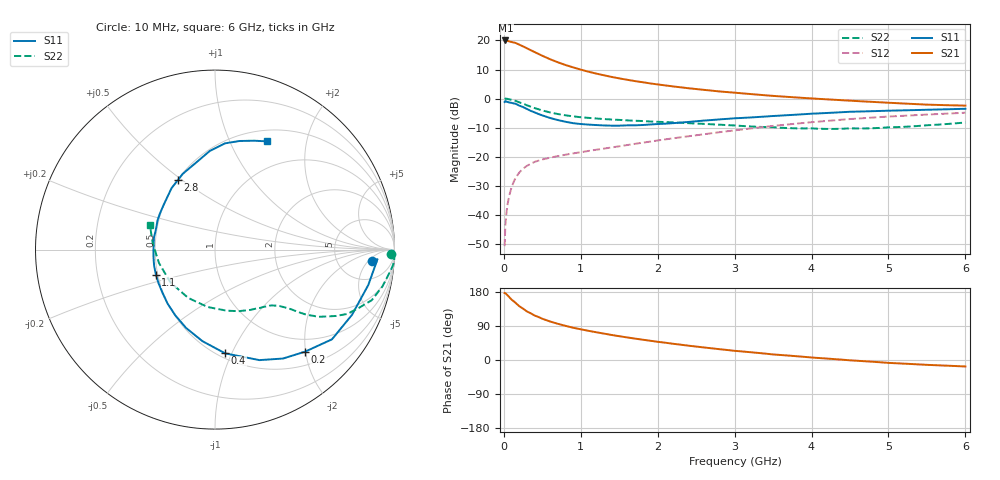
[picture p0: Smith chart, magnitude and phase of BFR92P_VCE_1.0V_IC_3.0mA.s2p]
! Infineon Technologies  Discrete & RF Semiconductors
! BFR92P
! VCE =  1.0 V,  IC =  3.0 mA
! Common Emitter S-Parameters:  Apr 2014
# GHz  S  MA  R  50
!  f  S11  S21  S12  S22
! GHz  MAG  ANG  MAG  ANG  MAG  ANG  MAG  ANG
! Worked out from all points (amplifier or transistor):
!   77 points, 10 MHz to 6 GHz, reference 50 ohm
!   highest |S21| = 20.0 dB at 20 MHz (marker M1)
!   |S21| within 3 dB of that: start of sweep to 323.5 MHz
!   unconditionally stable (mu >= 1): 1.161 GHz to 3.32 GHz
!   at 130 MHz: K = 0.16, MSG = 23.9 dB, |S12| = -28.5 dB
!   at 2.2 GHz: K = 1.10, MAG = 7.0 dB, |S12| = -13.7 dB
!   at 6 GHz: K = 0.92, MSG = 1.2 dB, |S12| = -4.8 dB
!   S11 on the Smith chart (normalised r, x): 10 MHz: 12, -6; 200 MHz: 0.74, -1.99; 400 MHz: 0.54, -0.94; 1.1 GHz: 0.49, -0.16; 2.8 GHz: 0.50, +0.48; 6 GHz: 0.64, +1.39
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0.01  0.8766 -4.2  9.765 176.7  0.0029 86.1  0.9819 -1.4
0.02  0.9069 -3.4  10.01 176.2  0.0068 84.3  1 -2.6
0.05  0.8767 -13.0  9.875 170.2  0.0155 83.5  0.9876 -6.4
0.1  0.8454 -25.5  9.427 159.5  0.0295 76.3  0.9552 -12.4
0.15  0.8213 -37.5  9.112 151.3  0.0428 70.8  0.9177 -17.9
0.2  0.7587 -48.5  8.492 142.1  0.0534 64.8  0.8644 -22.1
0.25  0.7156 -58.0  7.915 135.5  0.0624 61.5  0.8201 -25.9
0.3  0.6637 -68.1  7.35 128.2  0.0698 57.4  0.7678 -28.8
0.4  0.5809 -84.4  6.324 117.4  0.0817 52.6  0.6874 -33.0
0.5  0.515 -97.8  5.461 108.9  0.0898 49.6  0.6271 -35.4
0.6  0.4652 -110.3  4.772 101.7  0.0965 48.3  0.5794 -36.9
0.7  0.4287 -120.9  4.228 95.6  0.1026 47.5  0.5443 -37.9
0.8  0.4004 -131.3  3.792 90.2  0.1084 47.2  0.5167 -39.0
0.9  0.3784 -140.8  3.45 85.2  0.1143 47.7  0.496 -40.1
1.1  0.3575 -157.1  2.904 77.0  0.1261 48.5  0.4669 -42.0
1.5  0.3431 175.0  2.231 62.8  0.1515 50.3  0.4307 -47.1
2.1  0.3711 143.5  1.687 45.6  0.1992 51.2  0.3949 -57.3
2.8  0.4392 118.1  1.331 28.6  0.2644 49.1  0.3568 -73.4
3.1  0.4659 110.4  1.233 22.5  0.295 46.5  0.3385 -82.9
4.1  0.5582 91.2  0.99 5.2  0.4032 36.5  0.3035 -123.7
5.1  0.6245 75.8  0.837 -8.6  0.4995 23.1  0.3233 -170.4
6  0.6692 64.4  0.758 -17.1  0.5731 10.6  0.3888 159.0
